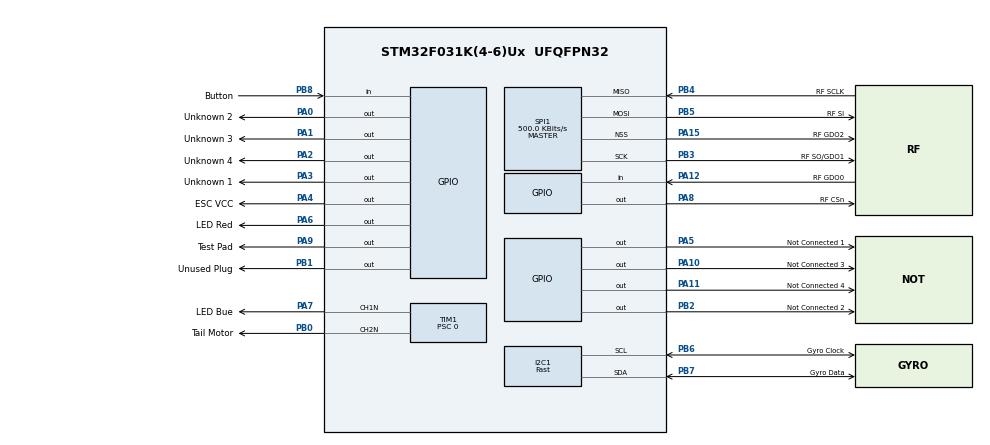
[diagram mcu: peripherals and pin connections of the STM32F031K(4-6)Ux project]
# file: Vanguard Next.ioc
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I2C1.I2C_Speed_Mode=I2C_Fast
I2C1.Timing=0x0010061A
Mcu.Family=STM32F0
Mcu.Name=STM32F031K(4-6)Ux
Mcu.Package=UFQFPN32
PA0.GPIO_Label=Unknown 2
PA0.GPIO_ModeDefaultOutputPP=GPIO_MODE_OUTPUT_OD
PA0.GPIO_PuPd=GPIO_NOPULL
PA0.GPIO_Speed=GPIO_SPEED_FREQ_LOW
PA0.PinState=GPIO_PIN_RESET
PA0.Signal=GPIO_Output
PA1.GPIO_Label=Unknown 3
PA1.GPIO_ModeDefaultOutputPP=GPIO_MODE_OUTPUT_OD
PA1.GPIO_PuPd=GPIO_NOPULL
PA1.GPIO_Speed=GPIO_SPEED_FREQ_LOW
PA1.PinState=GPIO_PIN_RESET
PA1.Signal=GPIO_Output
PA10.GPIO_Label=Not Connected 3
PA10.GPIO_ModeDefaultOutputPP=GPIO_MODE_OUTPUT_OD
PA10.GPIO_PuPd=GPIO_NOPULL
PA10.GPIO_Speed=GPIO_SPEED_FREQ_LOW
PA10.PinState=GPIO_PIN_RESET
PA10.Signal=GPIO_Output
PA11.GPIO_Label=Not Connected 4
PA11.GPIO_ModeDefaultOutputPP=GPIO_MODE_OUTPUT_OD
PA11.GPIO_PuPd=GPIO_NOPULL
PA11.GPIO_Speed=GPIO_SPEED_FREQ_LOW
PA11.PinState=GPIO_PIN_RESET
PA11.Signal=GPIO_Output
PA12.GPIO_Label=RF GDO0
PA12.Signal=GPIO_Input
PA13.GPIO_Label=Debug Data
PA13.Mode=Serial_Wire
PA13.Signal=SYS_SWDIO
PA14.GPIO_Label=Debug Clock
PA14.Mode=Serial_Wire
PA14.Signal=SYS_SWCLK
PA15.GPIO_Label=RF GDO2
PA15.Signal=SharedStack_PA15
PA15.Stacked=true
PA2.GPIO_Label=Unknown 4
PA2.GPIO_ModeDefaultOutputPP=GPIO_MODE_OUTPUT_OD
PA2.GPIO_PuPd=GPIO_NOPULL
PA2.GPIO_Speed=GPIO_SPEED_FREQ_LOW
PA2.PinState=GPIO_PIN_RESET
PA2.Signal=GPIO_Output
PA3.GPIO_Label=Unknown 1
PA3.GPIO_ModeDefaultOutputPP=GPIO_MODE_OUTPUT_OD
PA3.GPIO_PuPd=GPIO_NOPULL
PA3.GPIO_Speed=GPIO_SPEED_FREQ_LOW
PA3.PinState=GPIO_PIN_RESET
PA3.Signal=GPIO_Output
PA4.GPIO_Label=ESC VCC
PA4.GPIO_ModeDefaultOutputPP=GPIO_MODE_OUTPUT_OD
PA4.GPIO_PuPd=GPIO_NOPULL
PA4.GPIO_Speed=GPIO_SPEED_FREQ_LOW
PA4.PinState=GPIO_PIN_RESET
PA4.Signal=GPIO_Output
PA5.GPIO_Label=Not Connected 1
PA5.GPIO_ModeDefaultOutputPP=GPIO_MODE_OUTPUT_OD
PA5.GPIO_PuPd=GPIO_NOPULL
PA5.GPIO_Speed=GPIO_SPEED_FREQ_LOW
PA5.PinState=GPIO_PIN_RESET
PA5.Signal=GPIO_Output
PA6.GPIO_Label=LED Red
PA6.Signal=GPIO_Output
PA7.GPIO_Label=LED Bue
PA7.Mode=PWM Generation1 CH1N
PA7.Signal=TIM1_CH1N
PA8.GPIO_Label=RF CSn
PA8.GPIO_ModeDefaultOutputPP=GPIO_MODE_OUTPUT_PP
PA8.GPIO_PuPd=GPIO_NOPULL
PA8.GPIO_Speed=GPIO_SPEED_FREQ_LOW
PA8.PinState=GPIO_PIN_RESET
PA8.Signal=GPIO_Output
PA9.GPIO_Label=Test Pad
PA9.GPIO_ModeDefaultOutputPP=GPIO_MODE_OUTPUT_OD
PA9.GPIO_PuPd=GPIO_NOPULL
PA9.GPIO_Speed=GPIO_SPEED_FREQ_LOW
PA9.PinState=GPIO_PIN_RESET
PA9.Signal=GPIO_Output
PB0.GPIO_Label=Tail Motor
PB0.Mode=PWM Generation2 CH2N
PB0.Signal=TIM1_CH2N
PB1.GPIO_Label=Unused Plug
PB1.GPIO_ModeDefaultOutputPP=GPIO_MODE_OUTPUT_OD
PB1.GPIO_PuPd=GPIO_NOPULL
PB1.GPIO_Speed=GPIO_SPEED_FREQ_LOW
PB1.PinState=GPIO_PIN_RESET
PB1.Signal=GPIO_Output
PB2.GPIO_Label=Not Connected 2
PB2.GPIO_ModeDefaultOutputPP=GPIO_MODE_OUTPUT_OD
PB2.Signal=GPIO_Output
PB3.GPIO_Label=RF SO/GDO1
PB3.Signal=SharedStack_PB3
PB3.Stacked=true
PB4.GPIO_Label=RF SCLK
PB4.GPIO_ModeDefaultOutputPP=GPIO_MODE_OUTPUT_OD
PB4.GPIO_PuPd=GPIO_NOPULL
PB4.GPIO_Speed=GPIO_SPEED_FREQ_LOW
PB4.PinState=GPIO_PIN_RESET
PB4.Signal=SharedStack_PB4
PB4.Stacked=true
PB5.GPIO_Label=RF SI
PB5.GPIO_ModeDefaultOutputPP=GPIO_MODE_OUTPUT_OD
PB5.GPIO_PuPd=GPIO_NOPULL
PB5.GPIO_Speed=GPIO_SPEED_FREQ_LOW
PB5.PinState=GPIO_PIN_RESET
PB5.Signal=SharedStack_PB5
PB5.Stacked=true
PB6.GPIO_FM6=__NULL
PB6.GPIO_Label=Gyro Clock
PB6.GPIO_Mode=GPIO_MODE_AF_OD
PB6.GPIO_Pu=GPIO_PULLUP
PB6.GPIO_Speed=GPIO_SPEED_FREQ_HIGH
PB6.Mode=I2C
PB6.Signal=I2C1_SCL
PB7.GPIO_FM7=__NULL
PB7.GPIO_Label=Gyro Data
PB7.GPIO_Mode=GPIO_MODE_AF_OD
PB7.GPIO_Pu=GPIO_PULLUP
PB7.GPIO_Speed=GPIO_SPEED_FREQ_HIGH
PB7.Mode=I2C
PB7.Signal=I2C1_SDA
PB8.GPIO_Label=Button
PB8.Signal=GPIO_Input
PF0-OSC_IN.GPIO_Label=XTAL 2
PF0-OSC_IN.Mode=HSE-External-Oscillator
PF0-OSC_IN.Signal=RCC_OSC_IN
PF1-OSC_OUT.GPIO_Label=XTAL 1
PF1-OSC_OUT.Mode=HSE-External-Oscillator
PF1-OSC_OUT.Signal=RCC_OSC_OUT
ProjectManager.HeapSize=0x0
ProjectManager.StackSize=0x200
ProjectManager.TargetToolchain=STM32CubeIDE
RCC.AHBFreq_Value=16000000
RCC.APB1Freq_Value=16000000
RCC.APB1TimFreq_Value=16000000
RCC.HCLKFreq_Value=16000000
RCC.HSE_VALUE=16000000
RCC.I2c1ClockSelection=RCC_I2C1CLKSOURCE_SYSCLK
RCC.PLLSourceVirtual=RCC_PLLSOURCE_HSE
RCC.SYSCLKFreq_VALUE=16000000
RCC.SYSCLKSource=RCC_SYSCLKSOURCE_HSE
SH.SharedStack_PA15.0=SPI1_NSS,NSS_Signal_Hard_Output
SH.SharedStack_PB3.0=SPI1_SCK,Full_Duplex_Master
SH.SharedStack_PB4.0=SPI1_MISO,Full_Duplex_Master
SH.SharedStack_PB5.0=SPI1_MOSI,Full_Duplex_Master
SPI1.BaudRatePrescaler=SPI_BAUDRATEPRESCALER_32
SPI1.CRCCalculation=SPI_CRCCALCULATION_DISABLE
SPI1.CalculateBaudRate=500.0 KBits/s
SPI1.DataSize=SPI_DATASIZE_8BIT
SPI1.Direction=SPI_DIRECTION_2LINES
SPI1.Mode=SPI_MODE_MASTER
SPI1.TIMode=SPI_TIMODE_ENABLE
SPI1.VirtualNSS=VM_NSSHARD
SPI1.VirtualType=VM_MASTER
TIM1.Channel-PWM\ Generation1\ CH1N=TIM_CHANNEL_1
TIM1.Channel-PWM\ Generation2\ CH2N=TIM_CHANNEL_2
TIM1.OCMode_PWM-PWM\ Generation2\ CH2N=TIM_OCMODE_PWM1
TIM1.Period=1000
TIM1.Prescaler=0
TIM1.Pulse-PWM\ Generation2\ CH2N=0
TIM1.RepetitionCounter=0
VP_TIM1_VS_ClockSourceINT.Mode=Internal
board=custom

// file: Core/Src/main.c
/* USER CODE BEGIN Header */
/**
  ******************************************************************************
  * @file           : main.c
  * @brief          : Main program body
  ******************************************************************************
  * @attention
  *
  * <h2><center>&copy; Copyright (c) 2020 STMicroelectronics.
  * All rights reserved.</center></h2>
  *
  * This software component is licensed by ST under BSD 3-Clause license,
  * the "License"; You may not use this file except in compliance with the
  * License. You may obtain a copy of the License at:
  *                        opensource.org/licenses/BSD-3-Clause
  *
  ******************************************************************************
  */
/* USER CODE END Header */
#include "main.h"
#include "i2c.h"
#include "spi.h"
#include "tim.h"
#include "gpio.h"

/* USER CODE BEGIN Includes */
#include <stdbool.h>
#include "MPU6050/mpu6050.h"
#include "pid_control.h"
#include "Log/log.h"
#include "CC2500/cc2500.h"
#include "SFHSS/sfhss.h"
#include "SEGGER_RTT/SEGGER_RTT.h"
#include "mltypes.h"
#include "MPU6050/eMD6/eMPL/inv_mpu.h"
#include "MPU6050/eMD6/eMPL/inv_mpu_dmp_motion_driver.h"
#include "MPU6050/eMD6/mllite/invensense.h"

/* USER CODE END Includes */

void SystemClock_Config(void);

/* USER CODE BEGIN 0 */
#define TEST_INV_MPU 1
//#define TEST_MPU 1
//#define TEST_ECHO 1
//#define TEST_CC2500 1
/* USER CODE END 0 */

int main(void)
{

  /* MCU Configuration--------------------------------------------------------*/

  /* Reset of all peripherals, Initializes the Flash interface and the Systick. */
  HAL_Init();

  /* USER CODE BEGIN Init */
  SEGGER_RTT_Init();
  log_init();
  LOG_LOGD("HAL init done");
  /* USER CODE END Init */

  /* Configure the system clock */
  SystemClock_Config();

  /* USER CODE BEGIN SysInit */
  LOG_LOGD("System clock init done");
  /* USER CODE END SysInit */

  /* Initialize all configured peripherals */
  MX_GPIO_Init();
  MX_I2C1_Init();
  MX_SPI1_Init();
  MX_TIM1_Init();
  /* USER CODE BEGIN 2 */
  LOG_LOGD("Peripheral init done");
  /* USER CODE END 2 */

  /* Infinite loop */
  /* USER CODE BEGIN WHILE */

#if TEST_INV_MPU
  struct int_param_s int_param;
  inv_error_t result = mpu_init(&int_param);
  if (result) {
    LOG_LOGE("Could not initialize gyro");
  }
  else
  {
    LOG_LOGI("Gyro init done");
  }

  /* Get/set hardware configuration. Start gyro. */
  /* Wake up all sensors. */
  int r;
  r = mpu_set_sensors(INV_XYZ_GYRO | INV_XYZ_ACCEL);
  /* Push both gyro and accel data into the FIFO. */
  r |= mpu_configure_fifo(INV_XYZ_GYRO | INV_XYZ_ACCEL);

#define DEFAULT_MPU_HZ  (20)
  r |= mpu_set_sample_rate(DEFAULT_MPU_HZ);
  /* Read back configuration in case it was set improperly. */
  unsigned char accel_fsr,  new_temp = 0;
  unsigned short gyro_rate, gyro_fsr;
  unsigned long timestamp;

  r |= mpu_get_sample_rate(&gyro_rate);
  r |= mpu_get_gyro_fsr(&gyro_fsr);
  r |= mpu_get_accel_fsr(&accel_fsr);

  if (r)
  {
    LOG_LOGE("Could not configure sensors");
  }
  else
  {
    LOG_LOGI("Sensor configuration done");
  }

  /* Sync driver configuration with MPL. */
  /* Sample rate expected in microseconds. */
  inv_set_gyro_sample_rate(1000000L / gyro_rate);
  inv_set_accel_sample_rate(1000000L / gyro_rate);

  /* Set chip-to-body orientation matrix.
   * Set hardware units to dps/g's/degrees scaling factor.
   */

  /* Platform-specific information. Kinda like a boardfile. */
  struct platform_data_s {
    signed char orientation[9];
  };

  static struct platform_data_s gyro_pdata = {
      .orientation = { 1, 0, 0,
          0, 1, 0,
          0, 0, 1}
  };

  inv_set_gyro_orientation_and_scale(
      inv_orientation_matrix_to_scalar(gyro_pdata.orientation),
      (long)gyro_fsr<<15);
  inv_set_accel_orientation_and_scale(
      inv_orientation_matrix_to_scalar(gyro_pdata.orientation),
      (long)accel_fsr<<15);

  r = dmp_load_motion_driver_firmware();
  r |= dmp_set_orientation(inv_orientation_matrix_to_scalar(gyro_pdata.orientation));

  unsigned short dmp_features = DMP_FEATURE_6X_LP_QUAT | DMP_FEATURE_SEND_RAW_ACCEL | DMP_FEATURE_SEND_CAL_GYRO |
      DMP_FEATURE_GYRO_CAL;
  r |= dmp_enable_feature(dmp_features);
  r |= dmp_set_fifo_rate(DEFAULT_MPU_HZ);
  r |= mpu_set_dmp_state(1);
  unsigned char dmp_on = 1;

  if (r)
  {
    LOG_LOGE("Could not configure DMP");
  }
  else
  {
    LOG_LOGI("DMP configuration done");
  }

  unsigned char lp_accel_mode = 0;
#define ACCEL_ON        (0x01)
#define GYRO_ON         (0x02)
  unsigned char sensors = ACCEL_ON | GYRO_ON;
  volatile unsigned char new_gyro = 0;
  unsigned long next_temp_ms = 0;
  unsigned int report = 0;

  while(1)
  {
    unsigned long sensor_timestamp;
    int new_data = 0;

    timestamp = HAL_GetTick();

    /* Temperature data doesn't need to be read with every gyro sample.
     * Let's make them timer-based like the compass reads.
     */
    if (timestamp > next_temp_ms)
    {
#define TEMP_READ_MS    (500)
      next_temp_ms = timestamp + TEMP_READ_MS;
      new_temp = 1;
    }

    HAL_Delay(500);
    new_gyro = 1;

    if (!sensors || !new_gyro)
    {
      continue;
    }

    if (new_gyro && lp_accel_mode)
    {
      short accel_short[3];
      long accel[3];
      mpu_get_accel_reg(accel_short, &sensor_timestamp);
      accel[0] = (long)accel_short[0];
      accel[1] = (long)accel_short[1];
      accel[2] = (long)accel_short[2];
      inv_build_accel(accel, 0, sensor_timestamp);
      new_data = 1;
      new_gyro = 0;
    }
    else if (new_gyro && dmp_on)
    {
      short gyro[3], accel_short[3], sensors;
      unsigned char more;
      long accel[3], quat[4], temperature;
      /* This function gets new data from the FIFO when the DMP is in
       * use. The FIFO can contain any combination of gyro, accel,
       * quaternion, and gesture data. The sensors parameter tells the
       * caller which data fields were actually populated with new data.
       * For example, if sensors == (INV_XYZ_GYRO | INV_WXYZ_QUAT), then
       * the FIFO isn't being filled with accel data.
       * The driver parses the gesture data to determine if a gesture
       * event has occurred; on an event, the application will be notified
       * via a callback (assuming that a callback function was properly
       * registered). The more parameter is non-zero if there are
       * leftover packets in the FIFO.
       */
      if (dmp_read_fifo(gyro, accel_short, quat, &sensor_timestamp, &sensors, &more))
      {
        LOG_LOGE("Failed to read DMP FIFO");
      }

      if (!more)
      {
        new_gyro = 0;
      }

      if (sensors & INV_XYZ_GYRO)
      {
        /* Push the new data to the MPL. */
        inv_build_gyro(gyro, sensor_timestamp);
        new_data = 1;
        if (new_temp)
        {
          new_temp = 0;
          /* Temperature only used for gyro temp comp. */
          mpu_get_temperature(&temperature, &sensor_timestamp);
          inv_build_temp(temperature, sensor_timestamp);
        }
      }
      if (sensors & INV_XYZ_ACCEL)
      {
        accel[0] = (long)accel_short[0];
        accel[1] = (long)accel_short[1];
        accel[2] = (long)accel_short[2];
        inv_build_accel(accel, 0, sensor_timestamp);
        new_data = 1;
      }
      if (sensors & INV_WXYZ_QUAT)
      {
        inv_build_quat(quat, 0, sensor_timestamp);
        new_data = 1;
      }
    }
    else if (new_gyro)
    {
      short gyro[3], accel_short[3];
      unsigned char sensors, more;
      long accel[3], temperature;
      /* This function gets new data from the FIFO. The FIFO can contain
       * gyro, accel, both, or neither. The sensors parameter tells the
       * caller which data fields were actually populated with new data.
       * For example, if sensors == INV_XYZ_GYRO, then the FIFO isn't
       * being filled with accel data. The more parameter is non-zero if
       * there are leftover packets in the FIFO. The HAL can use this
       * information to increase the frequency at which this function is
       * called.
       */
      new_gyro = 0;
      mpu_read_fifo(gyro, accel_short, &sensor_timestamp,
          &sensors, &more);
      if (more)
        new_gyro = 1;
      if (sensors & INV_XYZ_GYRO) {
        /* Push the new data to the MPL. */
        inv_build_gyro(gyro, sensor_timestamp);
        new_data = 1;
        if (new_temp) {
          new_temp = 0;
          /* Temperature only used for gyro temp comp. */
          mpu_get_temperature(&temperature, &sensor_timestamp);
          inv_build_temp(temperature, sensor_timestamp);
        }
      }
      if (sensors & INV_XYZ_ACCEL)
      {
        accel[0] = (long)accel_short[0];
        accel[1] = (long)accel_short[1];
        accel[2] = (long)accel_short[2];
        inv_build_accel(accel, 0, sensor_timestamp);
        new_data = 1;
      }
    }

    if (new_data)
    {
      if (inv_execute_on_data())
      {
        LOG_LOGE("Failed to process data");
      }

      int8_t accuracy;
      float float_data[3] = {0};
      if (inv_get_sensor_type_linear_acceleration(float_data, &accuracy, (inv_time_t*)&timestamp))
      {
        LOG_LOGI("Linear Accel: %7.5f %7.5f %7.5f\r\n", float_data[0], float_data[1], float_data[2]);
       }

      if (inv_get_sensor_type_gyroscope_raw(float_data, &accuracy, (inv_time_t*)&timestamp))
      {
        LOG_LOGI("Gravity Vector: %7.5f %7.5f %7.5f\r\n", float_data[0], float_data[1], float_data[2]);
      }
    }
  }

#endif

#if TEST_MPU
  // Gyro Interface
  MPU6050_t mpu_handle;
  LOG_LOGD("Gyro init...");
  if (MPU6050_Init(&mpu_handle, &hi2c1, MPU6050_Device_0, MPU6050_Accelerometer_2G, MPU6050_Gyroscope_250s) != MPU6050_Result_Ok)
  {
    LOG_LOGE("Gyro init failed");
    Error_Handler();
  }

  if (MPU6050_DMP_LoadFirmware(&mpu_handle) != MPU6050_Result_Ok)
  {
    LOG_LOGE("Gyro firmware loading failed");
    Error_Handler();
  }

  if (MPU6050_DMP_SetState(&mpu_handle, true) != MPU6050_Result_Ok)
  {
    LOG_LOGE("Gyro firmware init failed");
    Error_Handler();
  }

  LOG_LOGD("Gyro init done");

  float gyro_integral = 0.0f;
  uint32_t gyro_tick = 0;

  // Init Gyro Status LED
  LL_TIM_CC_EnableChannel(TIM1, LL_TIM_CHANNEL_CH1N);

  // Tail Control
  const PID_Terms tail_control = { 1.0f / 33.0f, 0.0f, 0.0f };
  PID_History tail_control_history = { 0.0f, 0.0f };
  uint32_t tail_tick = 0;
  uint32_t tail_max_output = 1000;

  LL_TIM_CC_EnableChannel(TIM1, LL_TIM_CHANNEL_CH2N);

  // TIM1 Enable
  LL_TIM_EnableAllOutputs(TIM1);
  LL_TIM_EnableCounter(TIM1);

  while (1)
  {
    // Can be used for debug or maybe to cutoff tail motor ?
    const bool button_pressed = (HAL_GPIO_ReadPin(Button_GPIO_Port, Button_Pin) == GPIO_PIN_RESET);

    if (MPU6050_ReadAll(&mpu_handle) != MPU6050_Result_Ok)
    {
      LOG_LOGE("Gyro read failed");
      Error_Handler();
    }
    else
    {
      uint32_t previous_tick = gyro_tick;
      gyro_tick = HAL_GetTick();
      uint32_t delta_tick = gyro_tick - previous_tick;

      gyro_integral -= mpu_handle.Gyroscope_Z * delta_tick;
    }

    // Gyroscope outputs from -32768 to 32767
    // We discard negative values, and divide the output by 33 to get an approximate output from 0 to 1000
    // (in reality 0 to 993 because of rounding)
    if (mpu_handle.Gyroscope_Z == -32768 || mpu_handle.Gyroscope_Z == 32767)
    {
      LOG_LOGE("DATA: %6d %6d %6d %6d %6d %6d", mpu_handle.Gyroscope_X, mpu_handle.Gyroscope_Y, mpu_handle.Gyroscope_Z, mpu_handle.Accelerometer_X, mpu_handle.Accelerometer_Y, mpu_handle.Accelerometer_Z);
    }
    else
    {
      LOG_LOGI("DATA: %6d %6d %6d %6d %6d %6d", mpu_handle.Gyroscope_X, mpu_handle.Gyroscope_Y, mpu_handle.Gyroscope_Z, mpu_handle.Accelerometer_X, mpu_handle.Accelerometer_Y, mpu_handle.Accelerometer_Z);
    }

    uint16_t gyro_led_output = mpu_handle.Gyroscope_Z < 0 ? 0 : (mpu_handle.Gyroscope_Z / 33);
    LL_TIM_OC_SetCompareCH1(TIM1, gyro_led_output);

    // Update PID for tail
    float tail_setpoint = 0;
    float tail_processvariable = gyro_integral;

    uint32_t previous_tick = tail_tick;
    tail_tick = HAL_GetTick();
    uint32_t delta_tick = tail_tick - previous_tick;

    float tail_output = PID_Compute(&tail_control, &tail_control_history, delta_tick, tail_setpoint, tail_processvariable);
    //__HAL_TIM_SET_COMPARE(&htim1, TIM_CHANNEL_2, tail_output > 0.0 ? (uint32_t)tail_output : 0);
  }
#endif

#if TEST_ECHO
  char r = 'Z';

  LOG_LOGI("Running echo test sample...");

  do {
    LOG_LOGI("Waiting for a key press...");
    r = SEGGER_RTT_WaitKey();
    r++;
    LOG_LOGI(&r);
  } while (1);
#endif

#if TEST_CC2500
  CC2500CTX cc2500_ctx;

  LOG_LOGD("CC2500 init...");

  if (!cc2500_init(&cc2500_ctx, RF_CSn_GPIO_Port, RF_CSn_Pin, &hspi1))
  {
	  Error_Handler();
  }

  LOG_LOGD("CC2500 init done");

  LOG_LOGD("SFHSS init...");

  SFHSSCTX sfhss_ctx;
  sfhss_init(&sfhss_ctx, &cc2500_ctx);
  sfhss_calibrate(&sfhss_ctx);

  LOG_LOGD("S-FHSS init done");

#endif
    /* USER CODE END WHILE */

}

void SystemClock_Config(void)
{
  LL_FLASH_SetLatency(LL_FLASH_LATENCY_0);
  while(LL_FLASH_GetLatency() != LL_FLASH_LATENCY_0)
  {
  }
  LL_RCC_HSE_Enable();

   /* Wait till HSE is ready */
  while(LL_RCC_HSE_IsReady() != 1)
  {

  }
  LL_RCC_SetAHBPrescaler(LL_RCC_SYSCLK_DIV_1);
  LL_RCC_SetAPB1Prescaler(LL_RCC_APB1_DIV_1);
  LL_RCC_SetSysClkSource(LL_RCC_SYS_CLKSOURCE_HSE);

   /* Wait till System clock is ready */
  while(LL_RCC_GetSysClkSource() != LL_RCC_SYS_CLKSOURCE_STATUS_HSE)
  {

  }
  LL_SetSystemCoreClock(16000000);

   /* Update the time base */
  if (HAL_InitTick (TICK_INT_PRIORITY) != HAL_OK)
  {
    Error_Handler();
  }
  LL_RCC_SetI2CClockSource(LL_RCC_I2C1_CLKSOURCE_SYSCLK);
}

void Error_Handler(void)
{
  /* USER CODE BEGIN Error_Handler_Debug */
  /* User can add his own implementation to report the HAL error return state */
  LOG_LOGE("HAL error handler reached");

  while(1)
  {
    HAL_GPIO_WritePin(LED_Red_GPIO_Port, LED_Red_Pin, GPIO_PIN_SET);
    HAL_Delay(100);
    HAL_GPIO_WritePin(LED_Red_GPIO_Port, LED_Red_Pin, GPIO_PIN_RESET);
    HAL_Delay(100);
  }
  /* USER CODE END Error_Handler_Debug */
}

#ifdef  USE_FULL_ASSERT
/**
  * @brief  Reports the name of the source file and the source line number
  *         where the assert_param error has occurred.
  * @param  file: pointer to the source file name
  * @param  line: assert_param error line source number
  * @retval None
  */
void assert_failed(uint8_t *file, uint32_t line)
{
  /* USER CODE BEGIN 6 */
  /* User can add his own implementation to report the file name and line number,
     tex: printf("Wrong parameters value: file %s on line %d\r\n", file, line) */
  LOG_LOGE("Assertion failed: file %s on line %d\r\n", file, line);
  /* USER CODE END 6 */
}
#endif /* USE_FULL_ASSERT */

/************************ (C) COPYRIGHT STMicroelectronics *****END OF FILE****/
